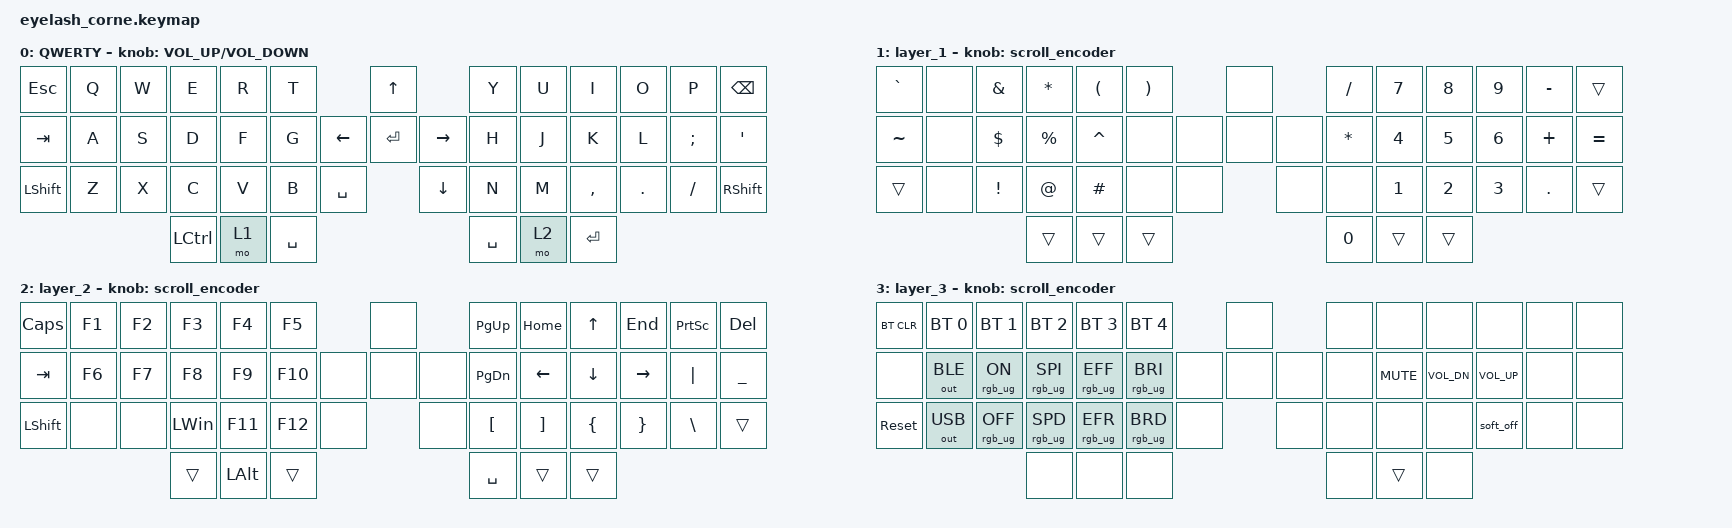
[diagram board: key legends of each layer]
#define ZMK_POINTING_DEFAULT_MOVE_VAL 1200  // 600
#define ZMK_POINTING_DEFAULT_SCRL_VAL 25   // 10

#include <input/processors.dtsi>
#include <zephyr/dt-bindings/input/input-event-codes.h>
#include <behaviors.dtsi>
#include <dt-bindings/zmk/bt.h>
#include <dt-bindings/zmk/keys.h>
#include <dt-bindings/zmk/outputs.h>
#include <dt-bindings/zmk/pointing.h>
#include <dt-bindings/zmk/rgb.h>

&mmv_input_listener { input-processors = <&zip_xy_scaler 2 1>; };

&msc_input_listener { input-processors = <&zip_scroll_scaler 2 1>; };

&msc {
    acceleration-exponent = <1>;      // 0
    time-to-max-speed-ms = <100>;       // 300
    delay-ms = <0>;                   // 0
};

&mmv {
    time-to-max-speed-ms = <500>;
    acceleration-exponent = <1>;
    trigger-period-ms = <16>;
};

&soft_off { hold-time-ms = <2000>; };

/ {
    behaviors {
        td0: td0 {
            compatible = "zmk,behavior-tap-dance";
            display-name = "Shift/Caps Lock Tap Dance";
            #binding-cells = <0>;
            bindings = <&kp LEFT_SHIFT>, <&kp CAPS>;
        };
    };

    rgb_encoder: rgb_encoder {
        compatible = "zmk,behavior-sensor-rotate";
        #sensor-binding-cells = <0>;
        bindings = <&rgb_ug RGB_BRI>, <&rgb_ug RGB_BRD>;
    };

    scroll_encoder: scroll_encoder {
        compatible = "zmk,behavior-sensor-rotate";
        #sensor-binding-cells = <0>;
        bindings = <&msc SCRL_DOWN>, <&msc SCRL_UP>;

        tap-ms = <100>;
    };

    combos {
        compatible = "zmk,combos";

        softoff {
            bindings = <&soft_off>;
            key-positions = <1 15 29>;
        };
    };

    keymap {
        compatible = "zmk,keymap";

        default_layer {
            display-name = "QWERTY";
            bindings = <
&kp ESC     &kp Q  &kp W  &kp E             &kp R  &kp T                             &kp UP                &kp Y      &kp U  &kp I      &kp O    &kp P     &kp BSPC
&kp TAB     &kp A  &kp S  &kp D             &kp F  &kp G                   &kp LEFT  &kp ENTER  &kp RIGHT  &kp H      &kp J  &kp K      &kp L    &kp SEMI  &kp APOS
&kp LSHIFT  &kp Z  &kp X  &kp C             &kp V  &kp B      &kp SPACE              &kp DOWN              &kp N      &kp M  &kp COMMA  &kp DOT  &kp FSLH  &kp RSHIFT
                          &kp LEFT_CONTROL  &mo 1  &kp SPACE                                               &kp SPACE  &mo 2  &kp ENTER
            >;

            sensor-bindings = <&inc_dec_kp C_VOLUME_UP C_VOLUME_DOWN>;
        };

        lower_layer {
            display-name = "layer_1";
            bindings = <
&kp GRAVE  &none  &kp AMPERSAND    &kp ASTERISK  &kp LEFT_PARENTHESIS  &kp RIGHT_PARENTHESIS                  &none         &kp SLASH     &kp NUMBER_7  &kp NUMBER_8  &kp NUMBER_9  &kp MINUS   &trans
&kp TILDE  &none  &kp DOLLAR       &kp PERCENT   &kp CARET             &none                           &none  &none  &none  &kp ASTERISK  &kp NUMBER_4  &kp NUMBER_5  &kp NUMBER_6  &kp PLUS    &kp EQUAL
&trans     &none  &kp EXCLAMATION  &kp AT_SIGN   &kp HASH              &none                  &none           &none         &none         &kp NUMBER_1  &kp NUMBER_2  &kp NUMBER_3  &kp PERIOD  &trans
                                   &trans        &trans                &trans                                               &kp N0        &trans        &trans
            >;

            sensor-bindings = <&scroll_encoder>;
        };

        raise_layer {
            display-name = "layer_2";
            bindings = <
&kp CAPS   &kp F1  &kp F2  &kp F3        &kp F4        &kp F5                   &none         &kp PG_UP  &kp HOME  &kp UP_ARROW    &kp END          &kp PRINTSCREEN  &kp DELETE
&kp TAB    &kp F6  &kp F7  &kp F8        &kp F9        &kp F10           &none  &none  &none  &kp PG_DN  &kp LEFT  &kp DOWN        &kp RIGHT        &kp PIPE         &kp UNDERSCORE
&kp LSHFT  &none   &none   &kp LEFT_WIN  &kp F11       &kp F12  &none           &none         &kp LBKT   &kp RBKT  &kp LEFT_BRACE  &kp RIGHT_BRACE  &kp BSLH         &trans
                           &trans        &kp LEFT_ALT  &trans                                 &kp SPACE  &trans    &trans
            >;

            sensor-bindings = <&scroll_encoder>;
        };

        layer_3 {
            display-name = "layer_3";
            bindings = <
&bt BT_CLR  &bt BT_SEL 0  &bt BT_SEL 1     &bt BT_SEL 2     &bt BT_SEL 3     &bt BT_SEL 4                     &none         &none  &none       &none         &none            &none  &none
&none       &out OUT_BLE  &rgb_ug RGB_ON   &rgb_ug RGB_SPI  &rgb_ug RGB_EFF  &rgb_ug RGB_BRI           &none  &none  &none  &none  &kp K_MUTE  &kp C_VOL_DN  &kp C_VOLUME_UP  &none  &none
&sys_reset  &out OUT_USB  &rgb_ug RGB_OFF  &rgb_ug RGB_SPD  &rgb_ug RGB_EFR  &rgb_ug RGB_BRD  &none           &none         &none  &none       &none         &soft_off        &none  &none
                                           &none            &none            &none                                          &none  &trans      &none
            >;

            sensor-bindings = <&scroll_encoder>;
        };
    };

    conditional_layers {
        compatible = "zmk,conditional-layers";

        layer3 {
            if-layers = <1 2>;
            then-layer = <3>;
        };
    };
};
